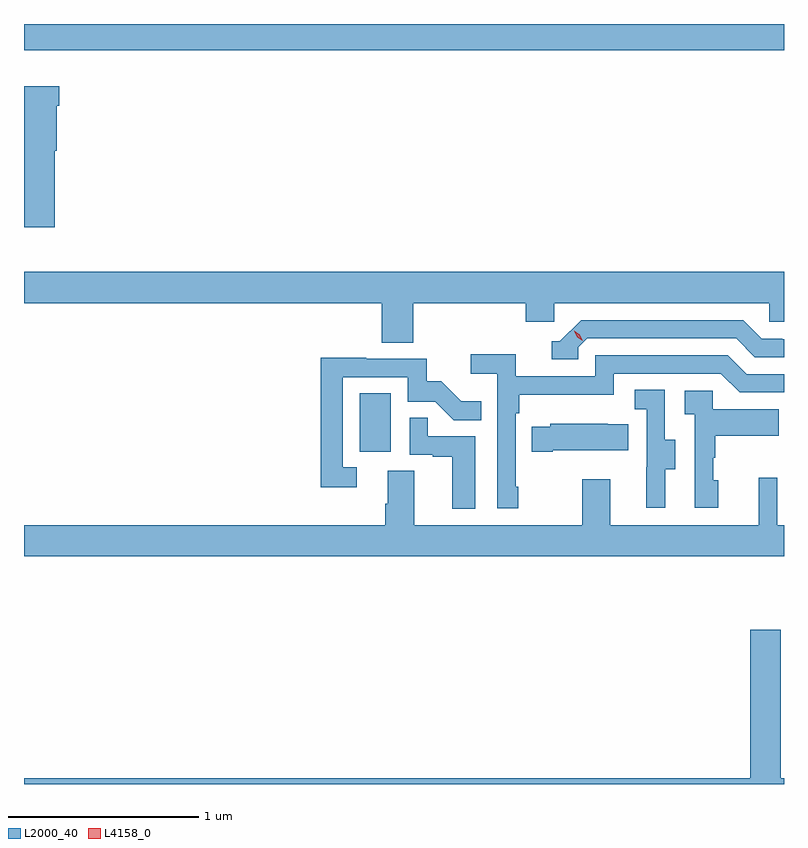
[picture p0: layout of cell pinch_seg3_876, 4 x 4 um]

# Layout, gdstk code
import gdstk
lib = gdstk.Library(unit=1e-6, precision=1e-09)
def R(c, l, rs):  # rectangles x0, y0, x1, y1
    for r in rs: c.add(gdstk.rectangle(r[:2], r[2:], *l))
def P(c, l, *ps):  # polygons
    for p in ps: c.add(gdstk.Polygon(p, *l))
L2000_40 = (2000, 40)
L4158_0 = (4158, 0)

pinch_seg3_876 = lib.new_cell('pinch_seg3_876')
R(pinch_seg3_876, L2000_40, [(831.32,705.462,831.484,705.769), (829.553,707.576,833.553,707.713)])
P(pinch_seg3_876, L2000_40, [(829.714,707.046),(829.726,707.046),(829.726,707.282),(829.739,707.282),(829.739,707.386),(829.553,707.386),(829.553,706.644),(829.714,706.644)],
  [(831.602,706.244),(832.193,706.244),(832.193,706.146),(832.344,706.146),(832.344,706.244),(833.475,706.244),(833.475,706.146),(833.553,706.146),(833.553,706.408),(829.553,706.408),(829.553,706.244),(831.437,706.244),(831.437,706.036),(831.602,706.036)],
  [(832.47,706.011),(832.518,706.059),(833.301,706.059),(833.4,705.96),(833.553,705.96),(833.553,706.053),(833.544,706.053),(833.544,706.056),(833.437,706.056),(833.338,706.155),(832.485,706.155),(832.374,706.044),(832.331,706.044),(832.331,705.948),(832.47,705.948)],
  [(832.153,705.277),(832.14,705.277),(832.14,705.665),(832.16,705.665),(832.16,705.761),(832.656,705.761),(832.656,705.873),(833.22,705.873),(833.319,705.774),(833.553,705.774),(833.553,705.87),(833.356,705.87),(833.257,705.969),(832.56,705.969),(832.56,705.858),(832.142,705.858),(832.142,705.974),(831.903,705.974),(831.903,705.872),(832.044,705.872),(832.044,705.165),(832.153,705.165)],
  [(831.304,705.381),(831.231,705.381),(831.231,705.855),(831.573,705.855),(831.573,705.726),(831.718,705.726),(831.816,705.628),(831.959,705.628),(831.959,705.727),(831.855,705.727),(831.748,705.834),(831.672,705.834),(831.672,705.951),(831.353,705.951),(831.353,705.956),(831.115,705.956),(831.115,705.276),(831.304,705.276)],
  [(832.927,705.37),(832.981,705.37),(832.981,705.525),(832.926,705.525),(832.926,705.788),(832.767,705.788),(832.767,705.685),(832.83,705.685),(832.83,705.381),(832.829,705.381),(832.829,705.168),(832.927,705.168)],
  [(833.206,705.312),(833.181,705.312),(833.181,705.431),(833.191,705.431),(833.191,705.545),(833.525,705.545),(833.525,705.685),(833.178,705.685),(833.178,705.783),(833.031,705.783),(833.031,705.659),(833.082,705.659),(833.082,705.168),(833.206,705.168)],
  [(831.928,705.543),(831.677,705.543),(831.677,705.641),(831.582,705.641),(831.582,705.447),(831.703,705.447),(831.703,705.435),(831.806,705.435),(831.806,705.161),(831.928,705.161)],
  [(832.336,705.47),(832.733,705.47),(832.733,705.607),(832.625,705.607),(832.625,705.61),(832.323,705.61),(832.323,705.592),(832.225,705.592),(832.225,705.463),(832.336,705.463)],
  [(833.553,705.076),(833.517,705.076),(833.517,705.325),(833.42,705.325),(833.42,705.076),(832.639,705.076),(832.639,705.316),(832.492,705.316),(832.492,705.076),(831.607,705.076),(831.607,705.362),(831.467,705.362),(831.467,705.188),(831.455,705.188),(831.455,705.076),(829.553,705.076),(829.553,704.912),(833.553,704.912)],
  [(833.553,703.744),(833.535,703.744),(833.535,704.524),(833.375,704.524),(833.375,703.744),(829.553,703.744),(829.553,703.713),(833.553,703.713)])
P(pinch_seg3_876, L4158_0, [(832.494,706.045),(832.464,706.065),(832.448,706.098),(832.448,706.098),(832.449,706.098),(832.479,706.078),(832.494,706.046),(832.494,706.045)])

lib.write_gds('pinch_seg3_876.gds')
